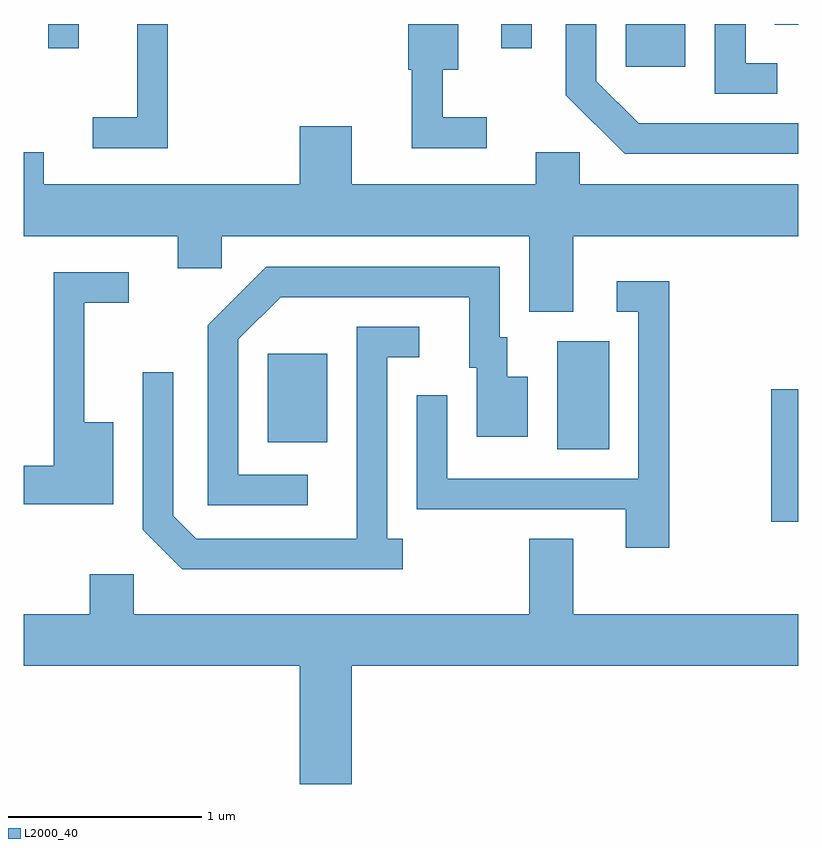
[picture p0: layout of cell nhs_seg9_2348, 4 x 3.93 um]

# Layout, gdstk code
import gdstk
lib = gdstk.Library(unit=1e-6, precision=1e-09)
def R(c, l, rs):  # rectangles x0, y0, x1, y1
    for r in rs: c.add(gdstk.rectangle(r[:2], r[2:], *l))
def P(c, l, *ps):  # polygons
    for p in ps: c.add(gdstk.Polygon(p, *l))
L2000_40 = (2000, 40)

nhs_seg9_2348 = lib.new_cell('nhs_seg9_2348')
R(nhs_seg9_2348, L2000_40, [(257.471,2025.861,257.611,2026.544), (256.366,2026.236,256.634,2026.794), (254.871,2026.271,255.179,2026.729), (256.721,2028.211,257.029,2028.432), (253.736,2028.308,253.894,2028.432), (256.076,2028.308,256.234,2028.432), (257.491,2028.428,257.611,2028.432)])
P(nhs_seg9_2348, L2000_40, [(257.611,2027.919),(256.787,2027.919),(256.569,2028.137),(256.569,2028.432),(256.411,2028.432),(256.411,2028.064),(256.714,2027.761),(257.611,2027.761)],
  [(254.354,2028.432),(254.196,2028.432),(254.196,2027.949),(253.968,2027.949),(253.968,2027.791),(254.354,2027.791)],
  [(257.503,2028.229),(257.339,2028.229),(257.339,2028.432),(257.181,2028.432),(257.181,2028.071),(257.503,2028.071)],
  [(256.003,2027.949),(255.774,2027.949),(255.774,2028.196),(255.854,2028.196),(255.854,2028.432),(255.596,2028.432),(255.596,2028.196),(255.616,2028.196),(255.616,2027.791),(256.003,2027.791)],
  [(256.449,2027.336),(257.611,2027.336),(257.611,2027.604),(256.484,2027.604),(256.484,2027.769),(256.256,2027.769),(256.256,2027.604),(255.304,2027.604),(255.304,2027.904),(255.036,2027.904),(255.036,2027.604),(253.714,2027.604),(253.714,2027.769),(253.611,2027.769),(253.611,2027.336),(254.406,2027.336),(254.406,2027.171),(254.634,2027.171),(254.634,2027.336),(256.221,2027.336),(256.221,2026.946),(256.449,2026.946)],
  [(255.078,2026.104),(254.719,2026.104),(254.719,2026.804),(254.937,2027.021),(255.911,2027.021),(255.911,2026.656),(255.951,2026.656),(255.951,2026.301),(256.214,2026.301),(256.214,2026.609),(256.109,2026.609),(256.109,2026.814),(256.069,2026.814),(256.069,2027.179),(254.864,2027.179),(254.561,2026.877),(254.561,2025.946),(255.078,2025.946)],
  [(254.074,2026.374),(253.924,2026.374),(253.924,2026.991),(254.153,2026.991),(254.153,2027.149),(253.766,2027.149),(253.766,2026.149),(253.611,2026.149),(253.611,2025.951),(254.074,2025.951)],
  [(256.944,2027.104),(256.673,2027.104),(256.673,2026.946),(256.786,2026.946),(256.786,2026.084),(255.799,2026.084),(255.799,2026.513),(255.641,2026.513),(255.641,2025.926),(256.721,2025.926),(256.721,2025.726),(256.944,2025.726)],
  [(255.568,2025.774),(255.489,2025.774),(255.489,2026.711),(255.653,2026.711),(255.653,2026.869),(255.331,2026.869),(255.331,2025.774),(254.502,2025.774),(254.384,2025.892),(254.384,2026.633),(254.226,2026.633),(254.226,2025.819),(254.429,2025.616),(255.568,2025.616)],
  [(255.304,2025.116),(257.611,2025.116),(257.611,2025.384),(256.449,2025.384),(256.449,2025.774),(256.221,2025.774),(256.221,2025.384),(254.179,2025.384),(254.179,2025.589),(253.951,2025.589),(253.951,2025.384),(253.611,2025.384),(253.611,2025.116),(255.036,2025.116),(255.036,2024.506),(255.304,2024.506)])

lib.write_gds('nhs_seg9_2348.gds')
